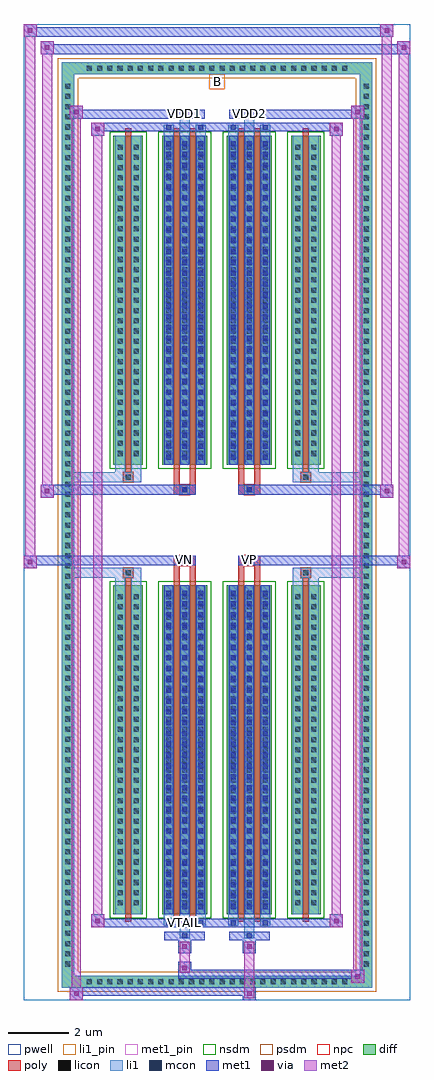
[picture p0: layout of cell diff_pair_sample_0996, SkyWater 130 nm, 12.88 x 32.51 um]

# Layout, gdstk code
import gdstk
lib = gdstk.Library(unit=1e-6, precision=5e-09)
def R(c, l, rs):  # rectangles x0, y0, x1, y1
    for r in rs: c.add(gdstk.rectangle(r[:2], r[2:], *l))
def A(c, l, x, y, w, h, nx, ny, dx, dy):  # array of equal rectangles
    R(c, l, [(x+i*dx, y+j*dy, x+i*dx+w, y+j*dy+h) for i in range(nx) for j in range(ny)])
def P(c, l, *ps):  # polygons
    for p in ps: c.add(gdstk.Polygon(p, *l))
pwell = (64, 44)
diff = (65, 20)
poly = (66, 20)
licon = (66, 44)
li1_pin = (67, 16)
li1 = (67, 20)
mcon = (67, 44)
met1_pin = (68, 16)
met1 = (68, 20)
via = (68, 44)
met2 = (69, 20)
nsdm = (93, 44)
psdm = (94, 20)
npc = (95, 20)

diff_pair_sample_0996 = lib.new_cell('diff_pair_sample_0996')
R(diff_pair_sample_0996, pwell, [(-6.44,-15.82,6.44,16.69), (-3.76,-14.01,-0.01,-0.815), (0.01,-14.01,3.76,-0.815), (-3.76,0.815,-0.01,14.01), (0.01,0.815,3.76,14.01)])
A(diff_pair_sample_0996, diff, -4.455, -15.42, 0.41, 0.41, 26, 2, 0.34, 30.43)
A(diff_pair_sample_0996, diff, -5.17, -14.825, 0.41, 0.41, 1, 87, 0, 0.34)
A(diff_pair_sample_0996, diff, 4.76, -14.825, 0.41, 0.41, 1, 87, 0, 0.34)
R(diff_pair_sample_0996, diff, [(-4.455,-15.42,4.455,-15.01), (-5.17,-14.825,-4.76,14.825), (4.76,-14.825,5.17,14.825), (-3.45,-12.965,-2.47,-2.005), (-1.83,-12.965,-0.32,-2.005), (0.32,-12.965,1.83,-2.005), (2.47,-12.965,3.45,-2.005), (-3.45,2.005,-2.47,12.965), (-1.83,2.005,-0.32,12.965), (0.32,2.005,1.83,12.965), (2.47,2.005,3.45,12.965), (-4.455,15.01,4.455,15.42)])
P(diff_pair_sample_0996, diff, [(5.17,15.42),(-5.17,15.42),(-5.17,-15.01),(-4.76,-15.01),(-4.76,15.01),(4.76,15.01),(4.76,-15.01),(-4.76,-15.01),(-5.17,-15.01),(-5.17,-15.42),(5.17,-15.42)])
R(diff_pair_sample_0996, poly, [(-3.06,-13.215,-2.86,-1.755), (-1.44,-13.215,-1.24,-1.755), (-0.91,-13.215,-0.71,-1.755), (0.71,-13.215,0.91,-1.755), (1.24,-13.215,1.44,-1.755), (2.86,-13.215,3.06,-1.755), (-3.125,-1.755,-2.795,-1.425), (-3.125,-1.755,-2.795,-1.425), (-1.44,-1.755,-1.24,-1.345), (-0.91,-1.755,-0.71,-1.345), (0.71,-1.755,0.91,-1.345), (1.24,-1.755,1.44,-1.345), (2.795,-1.755,3.125,-1.425), (2.795,-1.755,3.125,-1.425), (-1.44,-1.345,-0.71,-1.015), (-1.24,-1.345,-0.91,-1.015), (0.71,-1.345,1.44,-1.015), (0.91,-1.345,1.24,-1.015), (-1.44,1.015,-0.71,1.345), (-1.24,1.015,-0.91,1.345), (0.71,1.015,1.44,1.345), (0.91,1.015,1.24,1.345), (-1.44,1.345,-1.24,1.755), (-0.91,1.345,-0.71,1.755), (0.71,1.345,0.91,1.755), (1.24,1.345,1.44,1.755), (-3.125,1.425,-2.795,1.755), (-3.125,1.425,-2.795,1.755), (2.795,1.425,3.125,1.755), (2.795,1.425,3.125,1.755), (-3.06,1.755,-2.86,13.215), (-1.44,1.755,-1.24,13.215), (-0.91,1.755,-0.71,13.215), (0.71,1.755,0.91,13.215), (1.24,1.755,1.44,13.215), (2.86,1.755,3.06,13.215)])
A(diff_pair_sample_0996, licon, -4.335, -15.3, 0.17, 0.17, 26, 2, 0.34, 30.43)
A(diff_pair_sample_0996, licon, -5.05, -14.705, 0.17, 0.17, 1, 87, 0, 0.34)
A(diff_pair_sample_0996, licon, 4.88, -14.705, 0.17, 0.17, 1, 87, 0, 0.34)
A(diff_pair_sample_0996, licon, -3.31, -12.67, 0.17, 0.17, 1, 31, 0, 0.34)
A(diff_pair_sample_0996, licon, -2.78, -12.67, 0.17, 0.17, 1, 31, 0, 0.34)
A(diff_pair_sample_0996, licon, -1.69, -12.67, 0.17, 0.17, 3, 31, 0.53, 0.34)
A(diff_pair_sample_0996, licon, 0.46, -12.67, 0.17, 0.17, 3, 31, 0.53, 0.34)
A(diff_pair_sample_0996, licon, 2.61, -12.67, 0.17, 0.17, 1, 31, 0, 0.34)
A(diff_pair_sample_0996, licon, 3.14, -12.67, 0.17, 0.17, 1, 31, 0, 0.34)
A(diff_pair_sample_0996, licon, -3.31, 2.3, 0.17, 0.17, 1, 31, 0, 0.34)
A(diff_pair_sample_0996, licon, -2.78, 2.3, 0.17, 0.17, 1, 31, 0, 0.34)
A(diff_pair_sample_0996, licon, -1.69, 2.3, 0.17, 0.17, 3, 31, 0.53, 0.34)
A(diff_pair_sample_0996, licon, 0.46, 2.3, 0.17, 0.17, 3, 31, 0.53, 0.34)
A(diff_pair_sample_0996, licon, 2.61, 2.3, 0.17, 0.17, 1, 31, 0, 0.34)
A(diff_pair_sample_0996, licon, 3.14, 2.3, 0.17, 0.17, 1, 31, 0, 0.34)
R(diff_pair_sample_0996, licon, [(-3.045,-1.675,-2.875,-1.505), (2.875,-1.675,3.045,-1.505), (-1.16,-1.265,-0.99,-1.095), (0.99,-1.265,1.16,-1.095), (-1.16,1.095,-0.99,1.265), (0.99,1.095,1.16,1.265), (-3.045,1.505,-2.875,1.675), (2.875,1.505,3.045,1.675)])
R(diff_pair_sample_0996, li1_pin, [(-0.25,14.51,0.25,15.01)])
A(diff_pair_sample_0996, li1, -4.415, -15.38, 0.33, 0.33, 26, 2, 0.34, 30.43)
A(diff_pair_sample_0996, li1, -5.13, -14.785, 0.33, 0.33, 1, 87, 0, 0.34)
A(diff_pair_sample_0996, li1, 4.8, -14.785, 0.33, 0.33, 1, 87, 0, 0.34)
A(diff_pair_sample_0996, li1, -1.77, -12.965, 0.33, 10.96, 3, 2, 0.53, 14.97)
A(diff_pair_sample_0996, li1, 0.38, -12.965, 0.33, 10.96, 3, 2, 0.53, 14.97)
A(diff_pair_sample_0996, li1, -1.69, -12.79, 0.17, 0.17, 3, 30, 0.53, 0.36)
A(diff_pair_sample_0996, li1, -1.69, -12.79, 0.17, 10.61, 3, 2, 0.53, 14.97)
A(diff_pair_sample_0996, li1, 0.46, -12.79, 0.17, 0.17, 3, 30, 0.53, 0.36)
A(diff_pair_sample_0996, li1, 0.46, -12.79, 0.17, 10.61, 3, 2, 0.53, 14.97)
A(diff_pair_sample_0996, li1, -3.39, -12.75, 0.33, 0.33, 1, 31, 0, 0.34)
A(diff_pair_sample_0996, li1, -2.86, -12.75, 0.33, 0.33, 1, 31, 0, 0.34)
A(diff_pair_sample_0996, li1, -1.77, -12.75, 0.33, 0.33, 3, 31, 0.53, 0.34)
A(diff_pair_sample_0996, li1, 0.38, -12.75, 0.33, 0.33, 3, 31, 0.53, 0.34)
A(diff_pair_sample_0996, li1, 2.53, -12.75, 0.33, 0.33, 1, 31, 0, 0.34)
A(diff_pair_sample_0996, li1, 3.06, -12.75, 0.33, 0.33, 1, 31, 0, 0.34)
A(diff_pair_sample_0996, li1, -1.69, 2.18, 0.17, 0.17, 3, 30, 0.53, 0.36)
A(diff_pair_sample_0996, li1, 0.46, 2.18, 0.17, 0.17, 3, 30, 0.53, 0.36)
A(diff_pair_sample_0996, li1, -3.39, 2.22, 0.33, 0.33, 1, 31, 0, 0.34)
A(diff_pair_sample_0996, li1, -2.86, 2.22, 0.33, 0.33, 1, 31, 0, 0.34)
A(diff_pair_sample_0996, li1, -1.77, 2.22, 0.33, 0.33, 3, 31, 0.53, 0.34)
A(diff_pair_sample_0996, li1, 0.38, 2.22, 0.33, 0.33, 3, 31, 0.53, 0.34)
A(diff_pair_sample_0996, li1, 2.53, 2.22, 0.33, 0.33, 1, 31, 0, 0.34)
A(diff_pair_sample_0996, li1, 3.06, 2.22, 0.33, 0.33, 1, 31, 0, 0.34)
R(diff_pair_sample_0996, li1, [(-5.17,-15.42,-4.76,-15.01), (-5.17,-15.42,-4.76,-15.01), (-4.76,-15.42,4.76,-15.01), (4.76,-15.42,5.17,-15.01), (4.76,-15.42,5.17,-15.01), (-5.17,-15.01,-4.76,15.01), (4.76,-15.01,5.17,15.01), (-1.24,-13.77,-0.91,-12.965), (-1.16,-13.77,-0.99,-13.6), (0.91,-13.77,1.24,-12.965), (0.99,-13.77,1.16,-13.6), (-1.77,-13.34,-1.44,-12.965), (-1.69,-13.34,-1.52,-13.17), (-0.71,-13.34,-0.38,-12.965), (-0.63,-13.34,-0.46,-13.17), (0.38,-13.34,0.71,-12.965), (0.46,-13.34,0.63,-13.17), (1.44,-13.34,1.77,-12.965), (1.52,-13.34,1.69,-13.17), (-3.39,-12.965,-3.06,-2.005), (-2.86,-12.965,-2.53,-2.005), (2.53,-12.965,2.86,-2.005), (3.06,-12.965,3.39,-2.005), (-3.39,-2.005,-3.06,-1.425), (-2.86,-2.005,-2.53,-1.425), (2.53,-2.005,2.86,-1.425), (3.06,-2.005,3.39,-1.425), (-5.17,-1.755,-3.125,-1.425), (-3.39,-1.755,-3.125,-1.425), (-3.125,-1.755,-2.795,-1.425), (-2.795,-1.755,-2.53,-1.425), (2.53,-1.755,2.795,-1.425), (2.795,-1.755,3.125,-1.425), (2.795,-1.755,5.17,-1.425), (3.125,-1.755,3.39,-1.425), (-1.24,-1.345,-0.91,-1.015), (0.91,-1.345,1.24,-1.015), (-1.24,1.015,-0.91,1.345), (0.91,1.015,1.24,1.345), (-5.17,1.425,-3.125,1.755), (-3.39,1.425,-3.125,1.755), (-3.39,1.425,-3.06,2.005), (-3.125,1.425,-2.795,1.755), (-2.86,1.425,-2.53,2.005), (-2.795,1.425,-2.53,1.755), (2.53,1.425,2.795,1.755), (2.53,1.425,2.86,2.005), (2.795,1.425,3.125,1.755), (2.795,1.425,5.17,1.755), (3.06,1.425,3.39,2.005), (3.125,1.425,3.39,1.755), (-3.39,2.005,-3.06,12.965), (-2.86,2.005,-2.53,12.965), (2.53,2.005,2.86,12.965), (3.06,2.005,3.39,12.965), (-1.77,12.965,-1.44,13.34), (-1.24,12.965,-0.91,13.77), (-0.71,12.965,-0.38,13.34), (0.38,12.965,0.71,13.34), (0.91,12.965,1.24,13.77), (1.44,12.965,1.77,13.34), (-1.69,13.17,-1.52,13.34), (-0.63,13.17,-0.46,13.34), (0.46,13.17,0.63,13.34), (1.52,13.17,1.69,13.34), (-1.16,13.6,-0.99,13.77), (0.99,13.6,1.16,13.77), (-5.17,15.01,-4.76,15.42), (-5.17,15.01,-4.76,15.42), (-4.76,15.01,4.76,15.42), (4.76,15.01,5.17,15.42), (4.76,15.01,5.17,15.42)])
A(diff_pair_sample_0996, mcon, -1.69, -12.79, 0.17, 0.17, 3, 30, 0.53, 0.36)
A(diff_pair_sample_0996, mcon, 0.46, -12.79, 0.17, 0.17, 3, 30, 0.53, 0.36)
A(diff_pair_sample_0996, mcon, -1.69, 2.18, 0.17, 0.17, 3, 30, 0.53, 0.36)
A(diff_pair_sample_0996, mcon, 0.46, 2.18, 0.17, 0.17, 3, 30, 0.53, 0.36)
R(diff_pair_sample_0996, mcon, [(-1.16,-13.77,-0.99,-13.6), (0.99,-13.77,1.16,-13.6), (-1.69,-13.34,-1.52,-13.17), (-0.63,-13.34,-0.46,-13.17), (0.46,-13.34,0.63,-13.17), (1.52,-13.34,1.69,-13.17), (-1.16,-1.265,-0.99,-1.095), (0.99,-1.265,1.16,-1.095), (-1.16,1.095,-0.99,1.265), (0.99,1.095,1.16,1.265), (-1.69,13.17,-1.52,13.34), (-0.63,13.17,-0.46,13.34), (0.46,13.17,0.63,13.34), (1.52,13.17,1.69,13.34), (-1.16,13.6,-0.99,13.77), (0.99,13.6,1.16,13.77)])
R(diff_pair_sample_0996, met1_pin, [(-1.21,-13.38,-0.94,-13.11), (-1.21,-1.285,-0.94,-1.015), (0.94,-1.285,1.21,-1.015), (-1.21,13.56,-0.94,13.83), (0.94,13.56,1.21,13.83)])
A(diff_pair_sample_0996, met1, -1.75, -12.965, 0.29, 10.96, 3, 2, 0.53, 14.97)
A(diff_pair_sample_0996, met1, 0.4, -12.965, 0.29, 10.96, 3, 2, 0.53, 14.97)
A(diff_pair_sample_0996, met1, -1.75, -12.85, 0.29, 0.29, 3, 30, 0.53, 0.36)
A(diff_pair_sample_0996, met1, 0.4, -12.85, 0.29, 0.29, 3, 30, 0.53, 0.36)
A(diff_pair_sample_0996, met1, -1.75, 2.12, 0.29, 0.29, 3, 30, 0.53, 0.36)
A(diff_pair_sample_0996, met1, 0.4, 2.12, 0.29, 0.29, 3, 30, 0.53, 0.36)
R(diff_pair_sample_0996, met1, [(-4.9,-15.82,-4.47,-15.39), (0.86,-15.82,1.29,-15.39), (-4.9,-15.68,1.29,-15.39), (4.47,-15.25,4.9,-14.82), (-1.29,-15.11,4.9,-14.82), (-1.29,-14.97,-0.86,-14.54), (-1.29,-14.26,-0.86,-13.83), (0.86,-14.26,1.29,-13.83), (-1.75,-13.83,-0.4,-13.54), (-1.22,-13.83,-0.93,-13.54), (0.4,-13.83,1.75,-13.54), (0.93,-13.83,1.22,-13.54), (-4.19,-13.4,-3.76,-12.97), (-4.19,-13.4,-1.75,-13.11), (-1.75,-13.4,-1.46,-13.11), (-1.75,-13.4,-0.4,-13.11), (-0.69,-13.4,-0.4,-13.11), (-0.4,-13.4,0.4,-13.11), (0.4,-13.4,0.69,-13.11), (0.4,-13.4,1.75,-13.11), (1.46,-13.4,1.75,-13.11), (1.75,-13.4,4.19,-13.11), (3.76,-13.4,4.19,-12.97), (-6.44,-1.445,-6.01,-1.015), (6.01,-1.445,6.44,-1.015), (-6.44,-1.345,-0.71,-1.015), (-1.44,-1.345,-0.71,-1.015), (0.71,-1.345,1.44,-1.015), (0.71,-1.345,6.44,-1.015), (-1.22,-1.325,-0.93,-1.035), (0.93,-1.325,1.22,-1.035), (-5.87,0.915,-5.44,1.345), (5.44,0.915,5.87,1.345), (-5.87,1.015,-1.44,1.345), (-1.44,1.015,-0.71,1.345), (0.71,1.015,1.44,1.345), (1.44,1.015,5.87,1.345), (-1.22,1.035,-0.93,1.325), (0.93,1.035,1.22,1.325), (-4.19,12.97,-3.76,13.4), (3.76,12.97,4.19,13.4), (-4.19,13.11,-1.75,13.4), (-1.75,13.11,-1.46,13.4), (-1.75,13.11,-0.4,13.4), (-0.69,13.11,-0.4,13.4), (-0.4,13.11,0.4,13.4), (0.4,13.11,0.69,13.4), (0.4,13.11,1.75,13.4), (1.46,13.11,1.75,13.4), (1.75,13.11,4.19,13.4), (-4.9,13.54,-4.47,13.97), (-4.9,13.54,-1.75,13.83), (-1.75,13.54,-0.4,13.83), (-1.22,13.54,-0.93,13.83), (0.4,13.54,1.75,13.83), (0.93,13.54,1.22,13.83), (1.75,13.54,4.9,13.83), (4.47,13.54,4.9,13.97), (-5.87,15.69,-5.44,16.12), (-5.87,15.69,-3.76,16.02), (-3.76,15.69,3.76,16.02), (3.76,15.69,6.44,16.02), (6.01,15.69,6.44,16.12), (-6.44,16.26,-6.01,16.69), (-6.44,16.26,-3.76,16.59), (-3.76,16.26,3.76,16.59), (3.76,16.26,5.87,16.59), (5.44,16.26,5.87,16.69)])
R(diff_pair_sample_0996, via, [(-4.76,-15.68,-4.61,-15.53), (1,-15.68,1.15,-15.53), (4.61,-15.11,4.76,-14.96), (-1.15,-14.83,-1,-14.68), (-1.15,-14.12,-1,-13.97), (1,-14.12,1.15,-13.97), (-4.05,-13.26,-3.9,-13.11), (3.9,-13.26,4.05,-13.11), (-6.3,-1.305,-6.15,-1.155), (6.15,-1.305,6.3,-1.155), (-5.73,1.055,-5.58,1.205), (5.58,1.055,5.73,1.205), (-4.05,13.11,-3.9,13.26), (3.9,13.11,4.05,13.26), (-4.76,13.68,-4.61,13.83), (4.61,13.68,4.76,13.83), (-5.73,15.83,-5.58,15.98), (6.15,15.83,6.3,15.98), (-6.3,16.4,-6.15,16.55), (5.58,16.4,5.73,16.55)])
R(diff_pair_sample_0996, met2, [(-4.9,-15.82,-4.47,-15.39), (-4.83,-15.82,-4.54,13.97), (-4.54,-15.82,-4.47,-15.39), (-4.85,-15.77,-4.52,-15.44), (0.91,-15.77,1.24,-15.44), (0.91,-15.44,1.24,-14.21), (4.47,-15.25,4.9,-14.82), (4.54,-15.25,4.83,13.97), (4.83,-15.25,4.9,-14.82), (4.52,-15.2,4.85,-14.87), (-1.24,-14.92,-0.91,-14.59), (-1.24,-14.59,-0.91,-14.21), (-1.24,-14.21,-0.91,-13.88), (0.91,-14.21,1.24,-13.88), (-4.19,-13.4,-3.76,-12.97), (-4.12,-13.4,-3.83,13.4), (-3.83,-13.4,-3.76,-12.97), (3.76,-13.4,4.19,-12.97), (3.83,-13.4,4.12,13.4), (4.12,-13.4,4.19,-12.97), (-4.14,-13.35,-3.81,-13.02), (3.81,-13.35,4.14,-13.02), (-6.44,-1.445,-6.01,-1.015), (-6.39,-1.445,-6.06,16.69), (-6.06,-1.445,-6.01,-1.015), (6.01,-1.445,6.44,-1.015), (6.06,-1.445,6.39,16.12), (6.39,-1.445,6.44,-1.015), (-6.39,-1.395,-6.06,-1.065), (6.06,-1.395,6.39,-1.065), (-5.87,0.915,-5.44,1.345), (-5.82,0.915,-5.49,16.12), (-5.49,0.915,-5.44,1.345), (5.44,0.915,5.87,1.345), (5.49,0.915,5.82,16.69), (5.82,0.915,5.87,1.345), (-5.82,0.965,-5.49,1.295), (5.49,0.965,5.82,1.295), (-4.19,12.97,-3.76,13.4), (-3.83,12.97,-3.76,13.4), (3.76,12.97,4.19,13.4), (4.12,12.97,4.19,13.4), (-4.14,13.02,-3.81,13.35), (3.81,13.02,4.14,13.35), (-4.9,13.54,-4.47,13.97), (-4.54,13.54,-4.47,13.97), (4.47,13.54,4.9,13.97), (4.83,13.54,4.9,13.97), (-4.85,13.59,-4.52,13.92), (4.52,13.59,4.85,13.92), (-5.87,15.69,-5.44,16.12), (-5.49,15.69,-5.44,16.12), (6.01,15.69,6.44,16.12), (6.39,15.69,6.44,16.12), (-5.82,15.74,-5.49,16.07), (6.06,15.74,6.39,16.07), (-6.44,16.26,-6.01,16.69), (-6.06,16.26,-6.01,16.69), (5.44,16.26,5.87,16.69), (5.82,16.26,5.87,16.69), (-6.39,16.31,-6.06,16.64), (5.49,16.31,5.82,16.64)])
R(diff_pair_sample_0996, nsdm, [(-3.58,-13.095,-2.34,-1.875), (-1.96,-13.095,-0.19,-1.875), (0.19,-13.095,1.96,-1.875), (2.34,-13.095,3.58,-1.875), (-3.58,1.875,-2.34,13.095), (-1.96,1.875,-0.19,13.095), (0.19,1.875,1.96,13.095), (2.34,1.875,3.58,13.095)])
P(diff_pair_sample_0996, psdm, [(5.3,15.55),(-5.3,15.55),(-5.3,-14.88),(-4.63,-14.88),(-4.63,14.88),(4.63,14.88),(4.63,-14.88),(-4.63,-14.88),(-5.3,-14.88),(-5.3,-15.55),(5.3,-15.55)])
R(diff_pair_sample_0996, npc, [(-3.145,-1.775,-2.775,-1.405), (2.775,-1.775,3.145,-1.405), (-1.26,-1.365,-0.89,-0.995), (0.89,-1.365,1.26,-0.995), (-1.26,0.995,-0.89,1.365), (0.89,0.995,1.26,1.365), (-3.145,1.405,-2.775,1.775), (2.775,1.405,3.145,1.775)])
diff_pair_sample_0996.add(gdstk.Label('VTAIL', (-1.075,-13.245), layer=68, texttype=5))
diff_pair_sample_0996.add(gdstk.Label('VN', (-1.075,-1.15), layer=68, texttype=5))
diff_pair_sample_0996.add(gdstk.Label('VP', (1.075,-1.15), layer=68, texttype=5))
diff_pair_sample_0996.add(gdstk.Label('B', (0,14.76), layer=67, texttype=5))
diff_pair_sample_0996.add(gdstk.Label('VDD2', (1.075,13.695), layer=68, texttype=5))
diff_pair_sample_0996.add(gdstk.Label('VDD1', (-1.075,13.695), layer=68, texttype=5))

lib.write_gds('diff_pair_sample_0996.gds')
